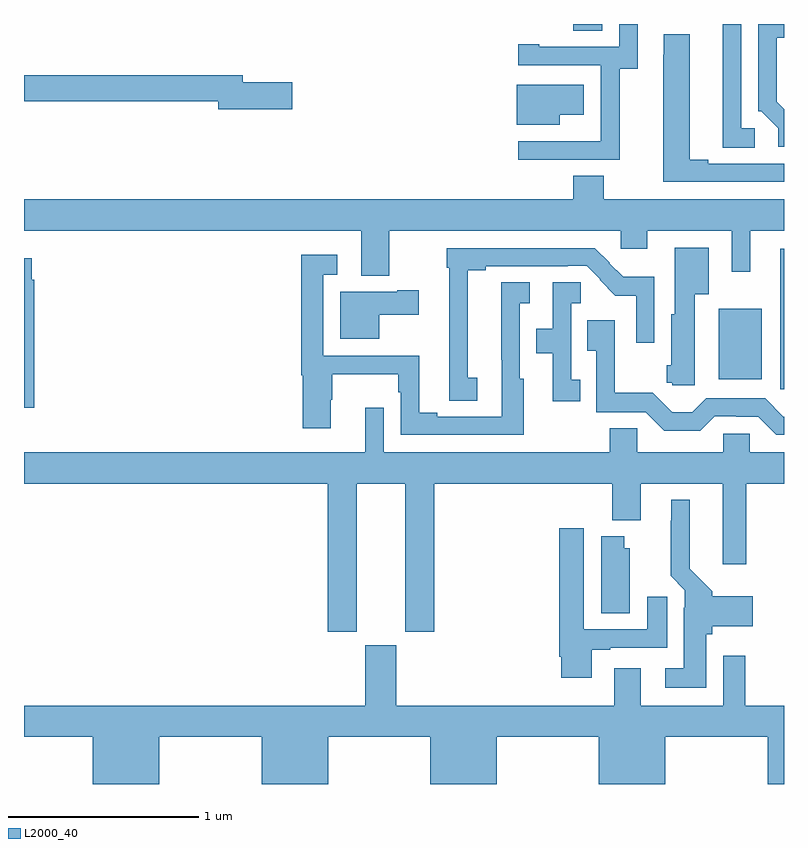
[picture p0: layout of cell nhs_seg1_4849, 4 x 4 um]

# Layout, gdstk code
import gdstk
lib = gdstk.Library(unit=1e-6, precision=1e-09)
def R(c, l, rs):  # rectangles x0, y0, x1, y1
    for r in rs: c.add(gdstk.rectangle(r[:2], r[2:], *l))
def P(c, l, *ps):  # polygons
    for p in ps: c.add(gdstk.Polygon(p, *l))
L2000_40 = (2000, 40)

nhs_seg1_4849 = lib.new_cell('nhs_seg1_4849')
R(nhs_seg1_4849, L2000_40, [(378.98,504.276,379,505.015), (378.656,504.329,378.883,504.7), (377.891,506.164,378.043,506.199)])
P(nhs_seg1_4849, L2000_40, [(379,505.751),(378.961,505.79),(378.961,506.127),(379,506.127),(379,506.199),(378.864,506.199),(378.864,505.74),(378.879,505.74),(378.969,505.65),(378.969,505.554),(379,505.554)],
  [(378.847,505.65),(378.774,505.65),(378.774,506.199),(378.677,506.199),(378.677,505.549),(378.847,505.549)],
  [(378.135,505.963),(378.229,505.963),(378.229,506.199),(378.132,506.199),(378.132,506.079),(377.713,506.079),(377.713,506.092),(377.601,506.092),(377.601,505.983),(378.036,505.983),(378.036,505.582),(378.035,505.582),(378.035,505.581),(377.601,505.581),(377.601,505.485),(378.135,505.485)],
  [(379,505.464),(378.601,505.464),(378.601,505.484),(378.505,505.484),(378.505,506.144),(378.366,506.144),(378.366,506.036),(378.365,506.036),(378.365,505.368),(379,505.368)],
  [(376.411,505.892),(376.15,505.892),(376.15,505.928),(375,505.928),(375,505.792),(376.022,505.792),(376.022,505.75),(376.411,505.75)],
  [(377.821,505.721),(377.947,505.721),(377.947,505.879),(377.594,505.879),(377.594,505.67),(377.821,505.67)],
  [(376.923,505.112),(378.141,505.112),(378.141,505.017),(378.28,505.017),(378.28,505.112),(378.726,505.112),(378.726,504.894),(378.823,504.894),(378.823,505.112),(379,505.112),(379,505.276),(378.051,505.276),(378.051,505.4),(377.891,505.4),(377.891,505.276),(375,505.276),(375,505.112),(376.775,505.112),(376.775,504.875),(376.923,504.875)],
  [(378.529,504.776),(378.604,504.776),(378.604,505.021),(378.426,505.021),(378.426,504.672),(378.407,504.672),(378.407,504.402),(378.383,504.402),(378.383,504.312),(378.411,504.312),(378.411,504.297),(378.529,504.297)],
  [(377.386,504.336),(377.336,504.336),(377.336,504.904),(377.431,504.904),(377.431,504.924),(377.861,504.924),(377.861,504.927),(377.961,504.927),(378.033,504.855),(378.03,504.852),(378.113,504.77),(378.222,504.77),(378.222,504.522),(378.318,504.522),(378.318,504.868),(378.153,504.868),(378.08,504.941),(378.082,504.943),(378.004,505.02),(377.226,505.02),(377.226,504.917),(377.237,504.917),(377.237,504.217),(377.386,504.217)],
  [(377.629,504.333),(377.61,504.333),(377.61,504.728),(377.662,504.728),(377.662,504.839),(377.513,504.839),(377.513,504.433),(377.514,504.433),(377.514,504.132),(377.176,504.132),(377.176,504.152),(377.08,504.152),(377.08,504.453),(376.575,504.453),(376.575,504.879),(376.648,504.879),(376.648,504.985),(376.459,504.985),(376.459,504.35),(376.466,504.35),(376.466,504.072),(376.615,504.072),(376.615,504.222),(376.623,504.222),(376.623,504.356),(376.971,504.356),(376.971,504.26),(376.983,504.26),(376.983,504.036),(377.629,504.036)],
  [(375.053,504.854),(375.04,504.854),(375.04,504.967),(375,504.967),(375,504.18),(375.053,504.18)],
  [(377.927,504.326),(377.88,504.326),(377.88,504.728),(377.929,504.728),(377.929,504.839),(377.784,504.839),(377.784,504.595),(377.695,504.595),(377.695,504.466),(377.783,504.466),(377.783,504.213),(377.927,504.213)],
  [(376.87,504.668),(377.077,504.668),(377.077,504.798),(376.964,504.798),(376.964,504.79),(376.664,504.79),(376.664,504.542),(376.87,504.542)],
  [(379,504.133),(378.995,504.133),(378.9,504.228),(378.591,504.228),(378.518,504.155),(378.412,504.155),(378.31,504.257),(378.108,504.257),(378.108,504.64),(377.965,504.64),(377.965,504.479),(378.012,504.479),(378.012,504.156),(378.273,504.156),(378.37,504.059),(378.56,504.059),(378.636,504.135),(378.749,504.135),(378.749,504.132),(378.864,504.132),(378.96,504.036),(379,504.036)],
  [(376.75,503.78),(377.006,503.78),(377.006,503.001),(377.159,503.001),(377.159,503.78),(378.095,503.78),(378.095,503.588),(378.247,503.588),(378.247,503.78),(378.677,503.78),(378.677,503.355),(378.8,503.355),(378.8,503.78),(379,503.78),(379,503.944),(378.819,503.944),(378.819,504.042),(378.681,504.042),(378.681,503.944),(378.228,503.944),(378.228,504.071),(378.082,504.071),(378.082,503.944),(376.893,503.944),(376.893,504.178),(376.796,504.178),(376.796,503.944),(375,503.944),(375,503.78),(376.598,503.78),(376.598,503.001),(376.75,503.001)],
  [(378.592,502.986),(378.623,502.986),(378.623,503.03),(378.835,503.03),(378.835,503.188),(378.623,503.188),(378.623,503.214),(378.505,503.332),(378.505,503.695),(378.407,503.695),(378.407,503.585),(378.403,503.585),(378.403,503.294),(378.477,503.22),(378.477,503.126),(378.473,503.126),(378.473,502.807),(378.375,502.807),(378.375,502.706),(378.592,502.706)],
  [(377.989,502.905),(378.085,502.905),(378.085,502.917),(378.385,502.917),(378.385,503.185),(378.281,503.185),(378.281,503.013),(377.947,503.013),(377.947,503.545),(377.816,503.545),(377.816,502.87),(377.828,502.87),(377.828,502.758),(377.989,502.758)],
  [(378.187,503.439),(378.16,503.439),(378.16,503.503),(378.038,503.503),(378.038,503.098),(378.187,503.098)],
  [(375.712,502.448),(376.25,502.448),(376.25,502.199),(376.6,502.199),(376.6,502.448),(377.138,502.448),(377.138,502.199),(377.488,502.199),(377.488,502.448),(378.026,502.448),(378.026,502.199),(378.376,502.199),(378.376,502.448),(378.914,502.448),(378.914,502.199),(379,502.199),(379,502.612),(378.797,502.612),(378.797,502.873),(378.681,502.873),(378.681,502.612),(378.247,502.612),(378.247,502.807),(378.107,502.807),(378.107,502.612),(376.96,502.612),(376.96,502.929),(376.796,502.929),(376.796,502.612),(375,502.612),(375,502.448),(375.362,502.448),(375.362,502.199),(375.712,502.199)])

lib.write_gds('nhs_seg1_4849.gds')
